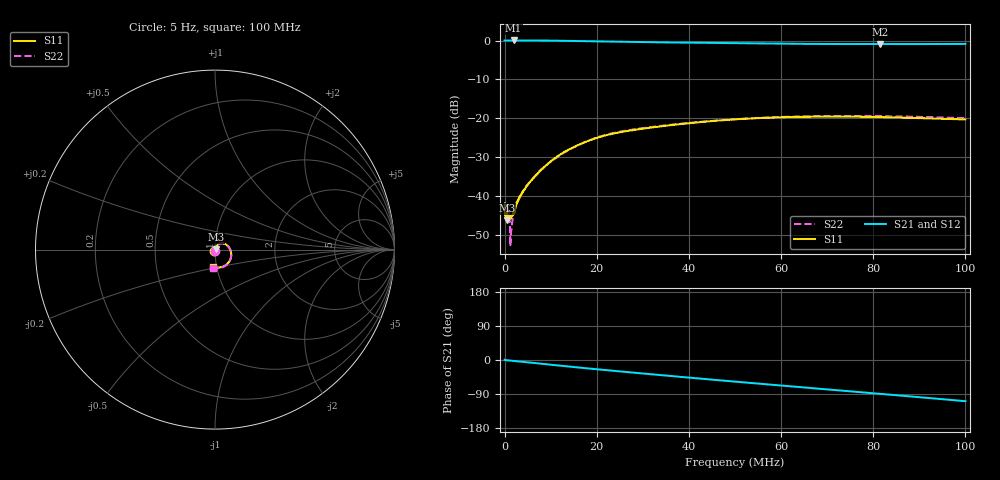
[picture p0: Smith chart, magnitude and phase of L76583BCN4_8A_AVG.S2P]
!Agilent Technologies,E5061B,MY49102235,A.02.00
!Date: Tue Jul 11 17:04:38 2023
!Data & Calibration Information:
!Freq	S11:SOLT2(ON)	S21:SOLT2(ON)	S12:SOLT2(ON)	S22:SOLT2(ON)
# Hz S RI R 50
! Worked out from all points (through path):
!   1600 points, 5 Hz to 100 MHz, reference 50 ohm
!   highest |S21| = 0.02 dB at 1.939 MHz (marker M1); lowest = -0.9 dB at 81.49 MHz (marker M2)
!   group delay of S21, straight-line fit = 2.97 ns
!   lowest |S11| = -46.3 dB at 500.3 kHz (marker M3), VSWR 1.01, Z = 50.5 + j0.145 ohm
!   |S11| at or under -10 dB: start of sweep to end of sweep
!   |S22| runs from -52.9 to -19.4 dB; largest |S21 - S12| = 0.0028
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5  -0.00523 -0.00563  1.002 0.00797  1.001 0.0102  -0.0014 -0.00756
500317.7  0.00464 0.00144  1.001 -0.00975  1.002 -0.0094  0.00484 -0.000162
687934.9  0.00523 0.00164  1.001 -0.0141  1.001 -0.0142  0.00583 0.00116
938091.3  0.00442 0.00315  1.001 -0.0187  1.001 -0.0181  0.00599 0.00256
1250787  0.00453 0.00261  1.001 -0.0248  1.001 -0.0247  0.00214 0.000746
1500943  0.00457 0.00314  1.001 -0.0308  1.001 -0.0303  0.00323 0.002
1688560  0.00413 0.00365  1 -0.0358  1.001 -0.0356  0.00386 0.00281
1938717  0.00349 0.00498  1.002 -0.041  1.001 -0.0405  0.00379 0.00522
2439029  0.00431 0.00613  0.9993 -0.0524  0.9988 -0.0517  0.00418 0.0066
3126959  0.00526 0.00793  0.9986 -0.0668  0.9982 -0.0663  0.00413 0.00813
4002506  0.00561 0.0101  0.9972 -0.0853  0.9969 -0.0847  0.00478 0.0105
5128210  0.00622 0.0128  0.9947 -0.1095  0.9943 -0.109  0.0057 0.013
7504695  0.00833 0.0186  0.9867 -0.1604  0.9864 -0.1602  0.00806 0.0193
1.169481e7  0.0168 0.0286  0.9629 -0.2489  0.9625 -0.2485  0.0159 0.0283
1.669794e7  0.0321 0.0347  0.9215 -0.3452  0.9213 -0.3448  0.0318 0.0348
2.332708e7  0.0543 0.0321  0.8547 -0.4579  0.8544 -0.4575  0.056 0.0312
3.333334e7  0.077 0.0127  0.7355 -0.6008  0.7355 -0.6003  0.0783 0.012
5.003127e7  0.0903 -0.0352  0.5016 -0.7747  0.5015 -0.7743  0.0907 -0.0356
6.672921e7  0.0663 -0.0811  0.2454 -0.8711  0.2457 -0.8707  0.0681 -0.0816
8.148843e7  0.0311 -0.0988  0.0108 -0.9002  0.011 -0.9  0.0323 -0.1014
8.33646e7  0.0268 -0.0995  -0.0196 -0.9002  -0.0196 -0.9  0.0278 -0.1024
1e8  -0.00861 -0.0962  -0.2901 -0.8566  -0.2899 -0.8564  -0.00862 -0.0999
